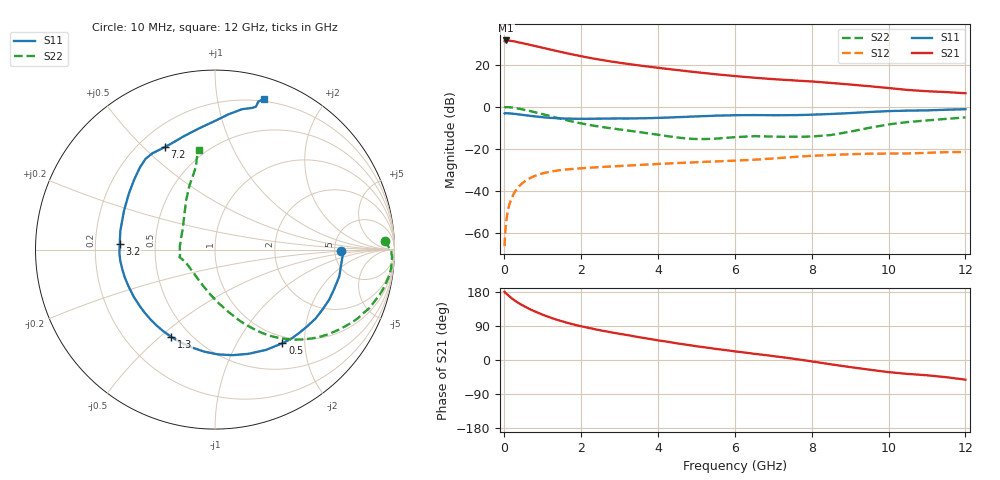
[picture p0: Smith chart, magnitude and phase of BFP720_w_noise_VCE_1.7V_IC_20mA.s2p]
! Infineon Technologies  Discrete & RF Semiconductors
! BFP720
! VCE =  1.7 V,  IC =  20 mA
! Common Emitter S-Parameters:  Aug 2012
# GHz  S  MA  R  50
!  f  S11  S21  S12  S22
! GHz  MAG  ANG  MAG  ANG  MAG  ANG  MAG  ANG
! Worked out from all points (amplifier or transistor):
!   105 points, 10 MHz to 12 GHz, reference 50 ohm
!   highest |S21| = 31.5 dB at 50 MHz (marker M1)
!   |S21| within 3 dB of that: start of sweep to 891.4 MHz
!   unconditionally stable (mu >= 1): start of sweep to 15.07 MHz; 4.285 GHz to 11.08 GHz
!   at 300 MHz: K = 0.14, MSG = 35.3 dB, |S12| = -39.7 dB
!   at 3.6 GHz: K = 0.91, MSG = 23.4 dB, |S12| = -27.4 dB
!   at 12 GHz: K = 0.79, MSG = 13.9 dB, |S12| = -21.4 dB
!   lowest NFmin = 0.77 dB at 450 MHz
!   S11 on the Smith chart (normalised r, x): 10 MHz: 5.73, -0.14; 500 MHz: 0.89, -1.58; 1.3 GHz: 0.39, -0.55; 3.2 GHz: 0.31, +0.03; 7.2 GHz: 0.30, +0.58; 12 GHz: 0.18, +1.36
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0.01  0.7028 -0.5  36.42 180.0  0.0005 11.7  0.9457 3.0
0.02  0.7125 -2.4  37.43 178.2  0.0009 82.7  0.9818 -0.4
0.05  0.7084 -6.0  37.65 175.6  0.0018 88.9  0.9871 -2.5
0.1  0.7085 -12.1  37.63 171.2  0.0036 85.1  0.9871 -6.0
0.25  0.6855 -29.2  35.84 158.8  0.0088 76.5  0.9521 -15.2
0.4  0.6601 -44.6  33.54 148.8  0.0135 70.0  0.8996 -23.2
0.5  0.6429 -54.2  31.97 143.0  0.0163 66.2  0.8637 -28.1
0.6  0.6271 -63.0  30.69 137.7  0.0189 62.3  0.8245 -32.6
0.8  0.5965 -80.4  27.84 128.1  0.0232 55.6  0.7494 -40.9
1  0.5714 -96.2  25.22 119.6  0.0266 49.9  0.6744 -48.1
1.3  0.5443 -116.6  21.85 108.6  0.0302 43.3  0.5738 -57.1
1.7  0.5263 -138.2  18.13 96.5  0.0334 37.3  0.4665 -66.3
2.1  0.5225 -153.7  15.3 86.9  0.0356 33.6  0.3919 -73.5
2.6  0.5279 -168.2  12.69 76.4  0.038 30.6  0.3285 -81.3
3.2  0.5316 176.8  10.52 65.8  0.0407 28.4  0.2769 -90.2
4.1  0.5532 155.3  8.259 50.4  0.0448 25.7  0.2124 -108.1
5  0.5967 138.8  6.647 36.3  0.0489 22.9  0.1735 -139.0
6.1  0.6369 126.6  5.297 21.6  0.0538 20.6  0.1941 -165.1
7.2  0.6361 116.1  4.437 7.8  0.0619 18.5  0.1963 -175.0
8.5  0.6804 97.7  3.703 -11.4  0.0725 10.0  0.2155 146.3
10.5  0.8163 75.3  2.526 -36.7  0.079 -3.5  0.4382 105.8
12  0.8838 72.1  2.113 -51.8  0.0855 -12.5  0.5625 99.1
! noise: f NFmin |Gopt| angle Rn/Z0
0.45  0.77  0.18  1  0.29
1.8  0.82  0.18  8  0.14
2.4  0.88  0.18  11  0.54
5.5  1.11  0.17  -64  0.18
10  1.26  0.48  -71  0.33
